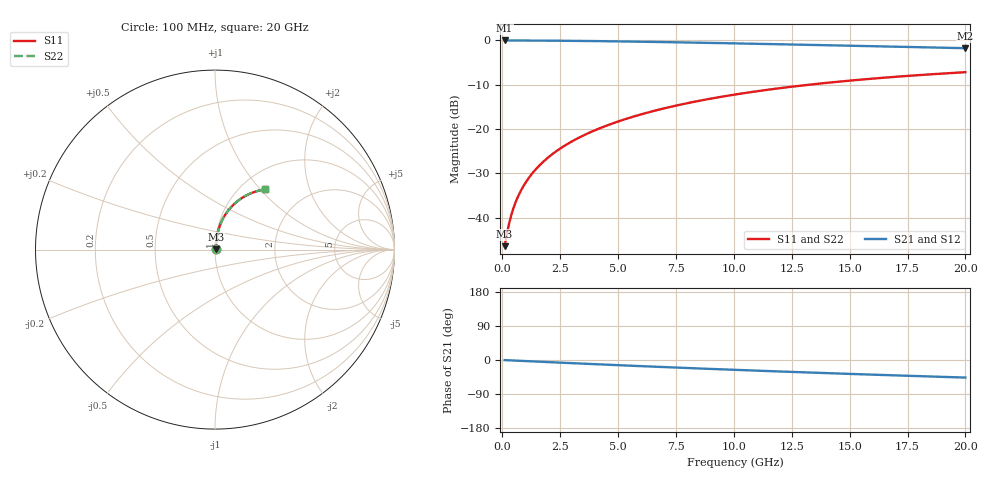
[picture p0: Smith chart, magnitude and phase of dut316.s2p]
! Touchstone file exported from HFSS 2024.1.0
!  File:  C:/UserFiles/LocalFiles/RDL_TSV_Batchsim/temp_RDL_top_316_1779606834.aedt
!  Generated:  03:16:09 PM May 24, 2026
!  Design:  RDL_top
!  Project:  temp_RDL_top_316_1779606834
!  Setup:  Setup1
!  Solution:  Sweep
! Variables:
!  dtsv = 10.80580581um
!  hbump = 3um
!  htsv = 68.66um
!  ldown = 100um
!  lrdl = 639.24um
!  p = 40
!  p1 = 51.11um
!  rhole = 1um
!  t = 450um
!  tdown = 3.915915916um
!  trdl = 3.05um
!  wdown = 15.38538539um
!  wrdl = 19.2um
# GHz S MA R 50.000000
! Terminal data exported
! Port[1] = Box2_T1
! Port[2] = Box2_T2
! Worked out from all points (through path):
!   200 points, 100 MHz to 20 GHz, reference 50 ohm
!   highest |S21| = -0.04 dB at 100 MHz (marker M1); lowest = -1.8 dB at 20 GHz (marker M2)
!   group delay of S21, straight-line fit = 6.41 ps
!   lowest |S11| = -46.4 dB at 100 MHz (marker M3), VSWR 1.01, Z = 50.4 + j0.261 ohm
!   |S11| at or under -10 dB: start of sweep to 13.26 GHz
!   |S22| runs from -46.4 to -7.2 dB; largest |S21 - S12| = 2.6e-15
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0.1  0.0048 32.7  0.996 -0.3  0.996 -0.3  0.0048 32.7
! Gamma 0 0 0 0
! Port Impedance 50 0 50 0
0.2  0.00662 50.9  0.9958 -0.6  0.9958 -0.6  0.00662 50.9
0.3  0.008774 60.3  0.9956 -0.9  0.9956 -0.9  0.008774 60.3
0.4  0.01102 65.7  0.9954 -1.2  0.9954 -1.2  0.01102 65.7
0.5  0.01329 69.2  0.9952 -1.4  0.9952 -1.4  0.01329 69.2
0.6  0.01557 71.7  0.995 -1.7  0.995 -1.7  0.01557 71.7
0.8  0.02016 75.0  0.9945 -2.3  0.9945 -2.3  0.02016 75.0
1.1  0.02711 77.9  0.9938 -3.1  0.9938 -3.1  0.02711 77.9
1.3  0.03179 79.1  0.9933 -3.7  0.9933 -3.7  0.03179 79.1
1.6  0.03886 80.2  0.9924 -4.5  0.9924 -4.5  0.03886 80.3
2.1  0.05077 81.2  0.9906 -5.9  0.9906 -5.9  0.05077 81.2
2.7  0.06521 81.5  0.9878 -7.5  0.9878 -7.5  0.06521 81.5
3.5  0.08469 81.2  0.9833 -9.7  0.9833 -9.7  0.0847 81.2
4.2  0.1019 80.5  0.9786 -11.6  0.9786 -11.6  0.1019 80.5
5  0.1217 79.5  0.9725 -13.7  0.9725 -13.7  0.1218 79.5
5.9  0.1441 78.0  0.9649 -16.0  0.9649 -16.0  0.1442 78.1
6.8  0.1665 76.5  0.9567 -18.2  0.9567 -18.2  0.1665 76.5
8.4  0.2058 73.3  0.9409 -22.1  0.9409 -22.1  0.2058 73.4
10.1  0.2462 69.8  0.9231 -26.1  0.9231 -26.1  0.2463 69.9
13.4  0.3192 62.9  0.887 -33.4  0.887 -33.4  0.3194 63.0
16.7  0.383 56.3  0.8505 -40.1  0.8505 -40.1  0.3833 56.3
20  0.4374 50.1  0.815 -46.4  0.815 -46.4  0.4377 50.1
